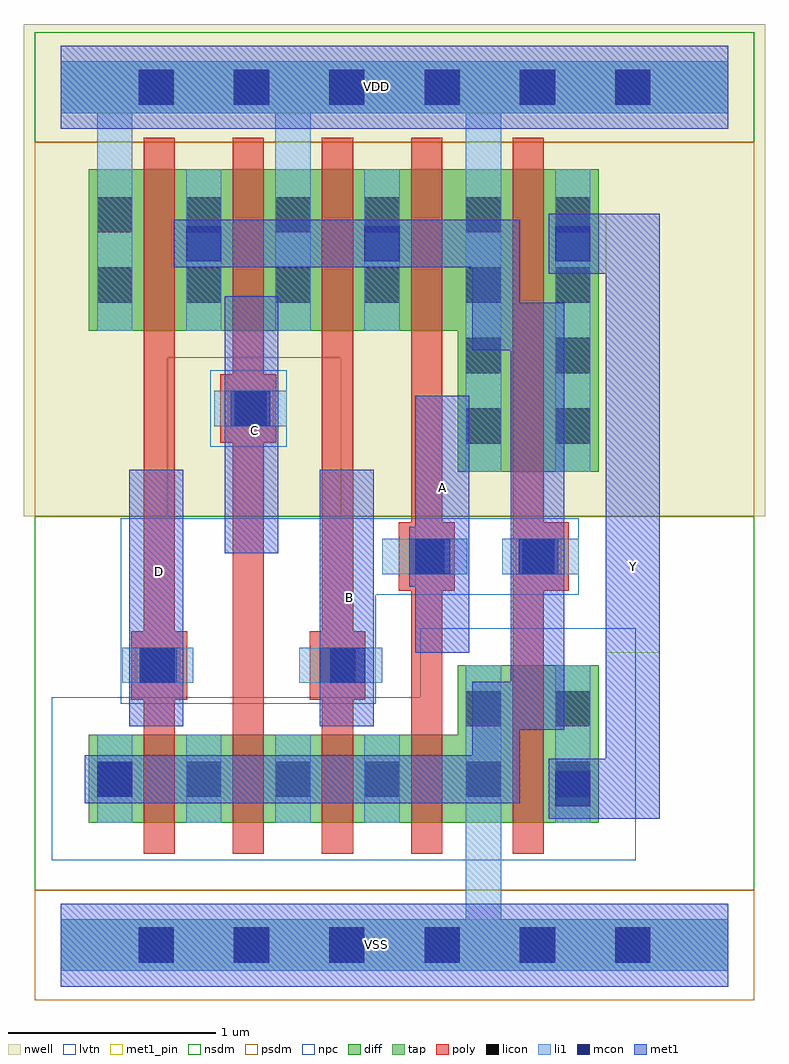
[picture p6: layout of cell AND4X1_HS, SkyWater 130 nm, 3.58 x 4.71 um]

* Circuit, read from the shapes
.subckt AND4X1_HS A B C D VDD VSS Y
XM1 n1 D n2 VSS sky130_fd_pr__nfet_01v8_lvt w=0.425 l=0.15
XM2 n3 C n1 VSS sky130_fd_pr__nfet_01v8_lvt w=0.425 l=0.15
XM3 n4 B n3 VSS sky130_fd_pr__nfet_01v8_lvt w=0.425 l=0.15
XM4 VSS A n4 VSS sky130_fd_pr__nfet_01v8_lvt w=0.425 l=0.15
XM5 Y n2 VSS VSS sky130_fd_pr__nfet_01v8_lvt w=0.76 l=0.15
XM6 n2 D VDD VDD sky130_fd_pr__pfet_01v8 w=0.78 l=0.15
XM7 VDD C n2 VDD sky130_fd_pr__pfet_01v8 w=0.78 l=0.15
XM8 n2 B VDD VDD sky130_fd_pr__pfet_01v8 w=0.78 l=0.15
XM9 VDD A n2 VDD sky130_fd_pr__pfet_01v8 w=0.78 l=0.15
XM10 Y n2 VDD VDD sky130_fd_pr__pfet_01v8 w=1.46 l=0.15
.ends

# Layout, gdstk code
from math import pi, radians
import gdstk
lib = gdstk.Library(unit=1e-6, precision=1e-09)
def R(c, l, rs):  # rectangles x0, y0, x1, y1
    for r in rs: c.add(gdstk.rectangle(r[:2], r[2:], *l))
def A(c, l, x, y, w, h, nx, ny, dx, dy):  # array of equal rectangles
    R(c, l, [(x+i*dx, y+j*dy, x+i*dx+w, y+j*dy+h) for i in range(nx) for j in range(ny)])
def P(c, l, *ps):  # polygons
    for p in ps: c.add(gdstk.Polygon(p, *l))
nwell = (64, 20)
diff = (65, 20)
tap = (65, 44)
poly = (66, 20)
licon = (66, 44)
li1 = (67, 20)
mcon = (67, 44)
met1_pin = (68, 16)
met1 = (68, 20)
nsdm = (93, 44)
psdm = (94, 20)
npc = (95, 20)
lvtn = (125, 44)

l1m1_c_cdns_750721774071 = lib.new_cell('L1M1_C_CDNS_7507217740712')
R(l1m1_c_cdns_750721774071, li1, [(-0.165,-0.085,0.165,0.085)])
R(l1m1_c_cdns_750721774071, mcon, [(-0.085,-0.085,0.085,0.085)])
R(l1m1_c_cdns_750721774071, met1, [(-0.085,-0.115,0.085,0.115)])

c_l1m1_c_cdns_750721774071 = lib.new_cell('L1M1_C_CDNS_7507217740713')
R(c_l1m1_c_cdns_750721774071, li1, [(-0.085,-0.165,0.085,0.165)])
R(c_l1m1_c_cdns_750721774071, mcon, [(-0.085,-0.085,0.085,0.085)])
R(c_l1m1_c_cdns_750721774071, met1, [(-0.145,-0.115,0.145,0.115)])

l1m1_c_cdns_750721774072 = lib.new_cell('L1M1_C_CDNS_750721774072')
R(l1m1_c_cdns_750721774072, li1, [(-0.085,-0.165,0.085,0.165)])
R(l1m1_c_cdns_750721774072, mcon, [(-0.085,-0.085,0.085,0.085)])
R(l1m1_c_cdns_750721774072, met1, [(-0.115,-0.145,0.115,0.145)])

pyl1con_c_cdns_750721774 = lib.new_cell('PYL1CON_C_CDNS_750721774073')
R(pyl1con_c_cdns_750721774, poly, [(-0.135,-0.165,0.135,0.165)])
R(pyl1con_c_cdns_750721774, licon, [(-0.085,-0.085,0.085,0.085)])
R(pyl1con_c_cdns_750721774, npc, [(-0.185,-0.185,0.185,0.185)])

l1m1_c_cdns_750721774074 = lib.new_cell('L1M1_C_CDNS_750721774074')
R(l1m1_c_cdns_750721774074, li1, [(-0.165,-0.085,0.165,0.085)])
R(l1m1_c_cdns_750721774074, mcon, [(-0.085,-0.085,0.085,0.085)])
R(l1m1_c_cdns_750721774074, met1, [(-0.115,-0.145,0.115,0.145)])

and4x1_hs = lib.new_cell('AND4X1_HS')
R(and4x1_hs, nwell, [(-0.18,2.07,3.4,4.305), (1.735,2.105,2.775,3.925), (-0.045,2.785,0.785,3.925), (0.425,2.785,1.215,3.925), (0.855,2.785,1.645,3.925), (1.285,2.785,2.095,3.925), (-0.18,3.875,3.4,4.445)])
A(and4x1_hs, diff, 0.4, 0.59, 0.15, 0.425, 4, 1, 0.43, 0)
A(and4x1_hs, diff, 0.55, 0.59, 0.055, 0.425, 3, 1, 0.43, 0)
A(and4x1_hs, diff, 0.605, 0.59, 0.225, 0.425, 3, 1, 0.43, 0)
A(and4x1_hs, diff, 0.4, 2.965, 0.15, 0.78, 4, 1, 0.43, 0)
A(and4x1_hs, diff, 0.55, 2.965, 0.055, 0.78, 3, 1, 0.43, 0)
A(and4x1_hs, diff, 0.605, 2.965, 0.225, 0.78, 3, 1, 0.43, 0)
R(and4x1_hs, diff, [(0.135,0.59,0.4,1.015), (1.84,0.59,1.915,1.015), (1.915,0.59,2.18,1.35), (2.18,0.59,2.33,1.35), (2.33,0.59,2.595,1.35), (1.915,2.285,2.18,3.745), (2.18,2.285,2.33,3.745), (2.33,2.285,2.595,3.745), (0.135,2.965,0.4,3.745), (1.84,2.965,1.915,3.745)])
A(and4x1_hs, poly, 0.4, 0.44, 0.15, 0.055, 4, 2, 0.43, 0.67)
A(and4x1_hs, poly, 0.4, 0.495, 0.15, 0.095, 4, 2, 0.43, 0.52)
A(and4x1_hs, poly, 0.4, 0.59, 0.15, 0.425, 4, 1, 0.43, 0)
A(and4x1_hs, poly, 0.4, 2.815, 0.15, 0.055, 4, 2, 0.43, 1.025)
A(and4x1_hs, poly, 0.4, 2.87, 0.15, 0.095, 4, 2, 0.43, 0.875)
A(and4x1_hs, poly, 0.4, 2.965, 0.15, 0.78, 4, 1, 0.43, 0)
R(and4x1_hs, poly, [(2.18,0.44,2.33,0.495), (2.18,0.495,2.33,0.59), (2.18,0.59,2.33,1.35), (2.18,1.35,2.33,1.445), (2.18,1.445,2.33,1.5), (2.18,2.135,2.33,2.19), (2.18,2.19,2.33,2.285), (2.18,2.285,2.33,3.745), (2.18,3.745,2.33,3.84), (2.18,3.84,2.33,3.895)])
A(and4x1_hs, licon, 0.375, -0.085, 0.17, 0.17, 6, 2, 0.46, 4.14)
A(and4x1_hs, licon, 1.955, 2.42, 0.17, 0.17, 1, 4, 0, 0.34)
A(and4x1_hs, licon, 2.385, 2.42, 0.17, 0.17, 1, 4, 0, 0.34)
A(and4x1_hs, licon, 0.175, 3.1, 0.17, 0.17, 4, 2, 0.43, 0.34)
R(and4x1_hs, licon, [(0.175,0.715,0.345,0.885), (1.955,0.715,2.125,0.885), (2.385,0.715,2.555,0.885), (1.955,1.055,2.125,1.225), (2.385,1.055,2.555,1.225)])
A(and4x1_hs, li1, 0.175, 2.965, 0.17, 0.78, 4, 1, 0.43, 0)
R(and4x1_hs, li1, [(0.175,0.59,0.345,1.015), (1.955,0.59,2.125,1.35), (2.385,0.59,2.555,1.35), (1.955,2.285,2.125,3.745), (2.385,2.285,2.555,3.745)])
A(and4x1_hs, mcon, 0.375, -0.085, 0.17, 0.17, 6, 2, 0.46, 4.14)
R(and4x1_hs, met1_pin, [(0.33,1.055,0.59,2.295), (1.25,1.055,1.51,2.295), (1.71,1.41,1.97,2.65), (2.63,1.41,2.89,3.53), (0.79,1.89,1.05,3.13)])
R(and4x1_hs, met1, [(2.355,0.61,2.82,0.9), (2.355,3.24,2.82,3.53)])
R(and4x1_hs, nsdm, [(-0.125,0.265,3.345,2.07), (-0.005,0.46,0.615,1.145), (0.595,0.46,1.045,1.145), (1.025,0.46,1.475,1.145), (1.455,0.46,1.795,1.145), (1.775,0.46,2.735,1.48), (-0.125,3.875,3.345,4.405), (-0.125,3.93,3.345,4.35)])
R(and4x1_hs, psdm, [(-0.125,-0.265,3.345,0.265), (-0.125,-0.21,3.345,0.21), (1.775,2.155,2.735,3.875), (-0.005,2.835,0.615,3.875), (0.595,2.835,1.045,3.875), (1.025,2.835,1.475,3.875), (1.455,2.835,1.795,3.875)])
P(and4x1_hs, psdm, [(3.345,3.875),(-0.125,3.875),(-0.125,2.07),(0.515,2.07),(0.515,2.835),(1.35,2.835),(1.35,2.07),(3.345,2.07)])
P(and4x1_hs, npc, [(2.44,2.06),(0.29,2.06),(0.29,1.165),(1.52,1.165),(1.52,1.69),(2.44,1.69)])
R(and4x1_hs, lvtn, [(-0.045,0.41,0.785,1.195), (0.425,0.41,1.215,1.195), (0.855,0.41,1.645,1.195), (1.285,0.41,2.095,1.195), (1.735,0.41,2.775,1.53)])
and4x1_hs.add(gdstk.FlexPath([(0.905,2.815),(0.905,1.165)], 0.15, ends="flush", simple_path=True, layer=66, datatype=20))  # poly
and4x1_hs.add(gdstk.FlexPath([(1.335,2.815),(1.335,1.165)], 0.15, ends="flush", simple_path=True, layer=66, datatype=20))  # poly
and4x1_hs.add(gdstk.FlexPath([(1.765,2.815),(1.765,1.165)], 0.15, ends="flush", simple_path=True, layer=66, datatype=20))  # poly
and4x1_hs.add(gdstk.FlexPath([(2.255,1.5),(2.255,2.27)], 0.15, ends="flush", simple_path=True, layer=66, datatype=20))  # poly
and4x1_hs.add(gdstk.FlexPath([(0.475,2.815),(0.475,1.165)], 0.15, ends="flush", simple_path=True, layer=66, datatype=20))  # poly
and4x1_hs.add(gdstk.FlexPath([(2.04,0.59),(2.04,0)], 0.17, ends=(0, 0.125), simple_path=True, layer=67, datatype=20))  # li1
and4x1_hs.add(gdstk.FlexPath([(0.26,3.55),(0.26,4)], 0.17, ends=(0, 0.125), simple_path=True, layer=67, datatype=20))  # li1
and4x1_hs.add(gdstk.FlexPath([(2.04,3.55),(2.04,4)], 0.17, ends=(0, 0.125), simple_path=True, layer=67, datatype=20))  # li1
and4x1_hs.add(gdstk.FlexPath([(3.135,4.14),(0,4.14)], 0.25, ends=(0.085, 0), simple_path=True, layer=67, datatype=20))  # li1
and4x1_hs.add(gdstk.FlexPath([(3.135,0),(0,0)], 0.25, ends=(0.085, 0), simple_path=True, layer=67, datatype=20))  # li1
and4x1_hs.add(gdstk.FlexPath([(1.545,1.35),(1.2,1.35)], 0.17, ends="flush", simple_path=True, layer=67, datatype=20))  # li1
and4x1_hs.add(gdstk.FlexPath([(1.085,2.59),(0.74,2.59)], 0.17, ends="flush", simple_path=True, layer=67, datatype=20))  # li1
and4x1_hs.add(gdstk.FlexPath([(2.265,1.875),(2.5,1.875)], 0.17, ends="flush", simple_path=True, layer=67, datatype=20))  # li1
and4x1_hs.add(gdstk.FlexPath([(1.12,3.55),(1.12,4)], 0.17, ends=(0, 0.125), simple_path=True, layer=67, datatype=20))  # li1
and4x1_hs.add(gdstk.FlexPath([(1.55,1.35),(1.15,1.35)], 0.17, ends="flush", simple_path=True, layer=67, datatype=20))  # li1
and4x1_hs.add(gdstk.FlexPath([(1.92,1.875),(1.575,1.875)], 0.17, ends="flush", simple_path=True, layer=67, datatype=20))  # li1
and4x1_hs.add(gdstk.FlexPath([(0.69,0.59),(0.69,1.015)], 0.17, ends="flush", simple_path=True, layer=67, datatype=20))  # li1
and4x1_hs.add(gdstk.FlexPath([(1.55,0.59),(1.55,1.015)], 0.17, ends="flush", simple_path=True, layer=67, datatype=20))  # li1
and4x1_hs.add(gdstk.FlexPath([(1.55,1.875),(1.93,1.875)], 0.17, ends="flush", simple_path=True, layer=67, datatype=20))  # li1
and4x1_hs.add(gdstk.FlexPath([(0.64,1.35),(0.295,1.35)], 0.17, ends="flush", simple_path=True, layer=67, datatype=20))  # li1
and4x1_hs.add(gdstk.FlexPath([(1.12,0.59),(1.12,1.015)], 0.17, ends="flush", simple_path=True, layer=67, datatype=20))  # li1
and4x1_hs.add(gdstk.FlexPath([(0.605,0.8),(0.775,0.8)], 0.17, ends="flush", simple_path=True, layer=66, datatype=44))  # licon
and4x1_hs.add(gdstk.FlexPath([(1.465,0.8),(1.635,0.8)], 0.17, ends="flush", simple_path=True, layer=66, datatype=44))  # licon
and4x1_hs.add(gdstk.FlexPath([(1.035,0.8),(1.205,0.8)], 0.17, ends="flush", simple_path=True, layer=66, datatype=44))  # licon
and4x1_hs.add(gdstk.FlexPath([(0,0),(3.22,0)], 0.4, ends="flush", simple_path=True, layer=68, datatype=16))  # met1_pin
and4x1_hs.add(gdstk.FlexPath([(0,4.14),(3.22,4.14)], 0.4, ends="flush", simple_path=True, layer=68, datatype=16))  # met1_pin
and4x1_hs.add(gdstk.FlexPath([(0,0),(3.22,0)], 0.25, ends="flush", simple_path=True, layer=65, datatype=44))  # tap
and4x1_hs.add(gdstk.FlexPath([(0,4.14),(3.22,4.14)], 0.25, ends="flush", simple_path=True, layer=65, datatype=44))  # tap
and4x1_hs.add(gdstk.FlexPath([(0,4.14),(3.22,4.14)], 0.4, ends="flush", simple_path=True, layer=68, datatype=20))  # met1
and4x1_hs.add(gdstk.FlexPath([(2.1,1.155),(2.295,1.155)], 0.23, ends="extended", simple_path=True, layer=68, datatype=20))  # met1
and4x1_hs.add(gdstk.FlexPath([(2.1,2.985),(2.1,3.385)], 0.23, ends="extended", simple_path=True, layer=68, datatype=20))  # met1
and4x1_hs.add(gdstk.FlexPath([(0.25,0.8),(2.215,0.8)], 0.23, ends="flush", simple_path=True, layer=68, datatype=20))  # met1
and4x1_hs.add(gdstk.FlexPath([(2.295,2.985),(2.1,2.985)], 0.23, ends="extended", simple_path=True, layer=68, datatype=20))  # met1
and4x1_hs.add(gdstk.FlexPath([(2.705,0.725),(2.47,0.725)], 0.23, ends="extended", simple_path=True, layer=68, datatype=20))  # met1
and4x1_hs.add(gdstk.FlexPath([(1.84,1.41),(1.84,2.65)], 0.26, ends="flush", simple_path=True, layer=68, datatype=20))  # met1
and4x1_hs.add(gdstk.FlexPath([(0.92,1.89),(0.92,3.13)], 0.26, ends="flush", simple_path=True, layer=68, datatype=20))  # met1
and4x1_hs.add(gdstk.FlexPath([(1.38,1.055),(1.38,2.295)], 0.26, ends="flush", simple_path=True, layer=68, datatype=20))  # met1
and4x1_hs.add(gdstk.FlexPath([(2.3,1.17),(2.3,2.97)], 0.26, ends="extended", simple_path=True, layer=68, datatype=20))  # met1
and4x1_hs.add(gdstk.FlexPath([(0.46,1.055),(0.46,2.295)], 0.26, ends="flush", simple_path=True, layer=68, datatype=20))  # met1
and4x1_hs.add(gdstk.FlexPath([(2.215,3.385),(2.1,3.385)], 0.23, ends=(0, 0.115), simple_path=True, layer=68, datatype=20))  # met1
and4x1_hs.add(gdstk.FlexPath([(2.1,0.8),(2.1,1.155)], 0.23, ends="extended", simple_path=True, layer=68, datatype=20))  # met1
and4x1_hs.add(gdstk.FlexPath([(2.76,3.3),(2.76,0.74)], 0.26, ends=(0, 0.13), simple_path=True, layer=68, datatype=20))  # met1
and4x1_hs.add(gdstk.FlexPath([(2.47,3.415),(2.89,3.415)], 0.23, ends=(0.115, 0), simple_path=True, layer=68, datatype=20))  # met1
and4x1_hs.add(gdstk.FlexPath([(2.1,3.385),(0.835,3.385)], 0.23, ends=(0.115, 0), simple_path=True, layer=68, datatype=20))  # met1
and4x1_hs.add(gdstk.FlexPath([(0,0),(3.22,0)], 0.4, ends="flush", simple_path=True, layer=68, datatype=20))  # met1
and4x1_hs.add(gdstk.Reference(l1m1_c_cdns_750721774071, (2.295,1.875)))
and4x1_hs.add(gdstk.Reference(c_l1m1_c_cdns_750721774071, (0.26,0.8)))
and4x1_hs.add(gdstk.Reference(c_l1m1_c_cdns_750721774071, (1.55,3.385), rotation=pi))
and4x1_hs.add(gdstk.Reference(c_l1m1_c_cdns_750721774071, (0.69,3.385)))
and4x1_hs.add(gdstk.Reference(l1m1_c_cdns_750721774072, (2.47,3.385)))
and4x1_hs.add(gdstk.Reference(l1m1_c_cdns_750721774072, (2.47,0.755)))
and4x1_hs.add(gdstk.Reference(pyl1con_c_cdns_750721774, (2.315,1.875)))
and4x1_hs.add(gdstk.Reference(pyl1con_c_cdns_750721774, (0.475,1.35)))
and4x1_hs.add(gdstk.Reference(pyl1con_c_cdns_750721774, (0.905,2.59)))
and4x1_hs.add(gdstk.Reference(pyl1con_c_cdns_750721774, (1.335,1.35)))
and4x1_hs.add(gdstk.Reference(pyl1con_c_cdns_750721774, (1.765,1.875)))
and4x1_hs.add(gdstk.Reference(l1m1_c_cdns_750721774074, (0.925,2.59), x_reflection=True))
and4x1_hs.add(gdstk.Reference(l1m1_c_cdns_750721774074, (0.465,1.35), x_reflection=True))
and4x1_hs.add(gdstk.Reference(l1m1_c_cdns_750721774074, (1.795,1.875), x_reflection=True))
and4x1_hs.add(gdstk.Reference(l1m1_c_cdns_750721774074, (1.385,1.35), x_reflection=True))
and4x1_hs.add(gdstk.Label('VDD', (1.525,4.145), layer=68, texttype=5))
and4x1_hs.add(gdstk.Label('Y', (2.765,1.825), layer=68, texttype=5))
and4x1_hs.add(gdstk.Label('B', (1.395,1.675), layer=68, texttype=5))
and4x1_hs.add(gdstk.Label('D', (0.475,1.805), layer=68, texttype=5))
and4x1_hs.add(gdstk.Label('A', (1.84,2.21), layer=68, texttype=5))
and4x1_hs.add(gdstk.Label('VSS', (1.525,0.005), layer=68, texttype=5))
and4x1_hs.add(gdstk.Label('C', (0.935,2.485), layer=68, texttype=5))

lib.write_gds('AND4X1_HS.gds')
